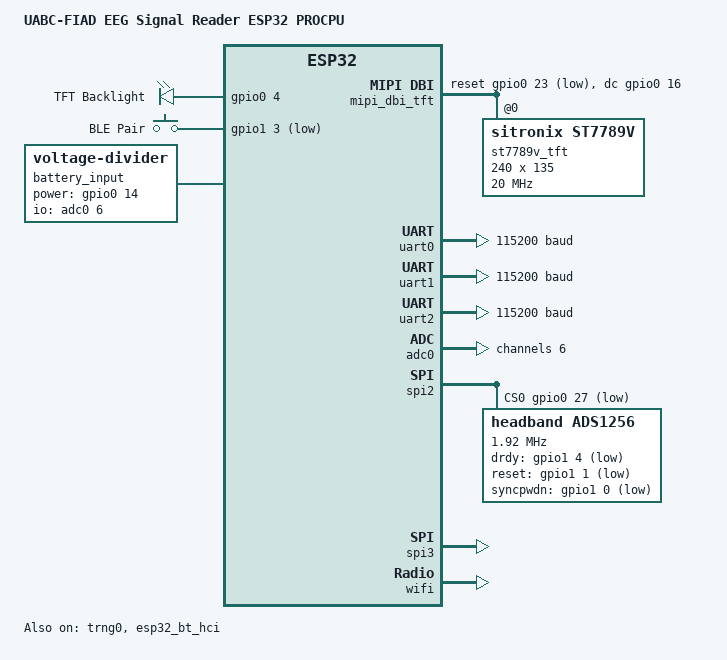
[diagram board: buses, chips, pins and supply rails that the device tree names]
/*
 * SPDX-License-Identifier: Apache-2.0
 */
/dts-v1/;

#include <espressif/esp32/esp32_wrover_e_n4r8.dtsi>
#include "eeg_signal_reader-pinctrl.dtsi"
#include <espressif/partitions_0x1000_amp.dtsi>
#include <zephyr/dt-bindings/adc/adc.h>
#include <zephyr/dt-bindings/display/panel.h>
#include <zephyr/dt-bindings/gpio/gpio.h>
#include <zephyr/dt-bindings/mipi_dbi/mipi_dbi.h>

/ {
	model = "UABC-FIAD EEG Signal Reader ESP32 PROCPU";
	compatible = "uabc-fiad,eeg-signal-reader";

	aliases {
		uart-0 = &uart0;
		watchdog0 = &wdt0;
		sw0 = &pair_button;
	};

	chosen {
		zephyr,sram = &sram1;
		zephyr,console = &uart0;
		zephyr,shell-uart = &uart0;
		zephyr,flash = &flash0;
		zephyr,code-partition = &slot0_partition;
		zephyr,bt-hci = &esp32_bt_hci;
		zephyr,display = &st7789v_tft;
	};

	leds {
		compatible = "gpio-leds";

		display_bl: display_bl {
			gpios = <&gpio0 4 GPIO_ACTIVE_HIGH>;
			label = "TFT Backlight";
		};
	};

	buttons {
		compatible = "gpio-keys";

		pair_button: pair_button {
			gpios = <&gpio1 3 GPIO_ACTIVE_LOW>;
			label = "BLE Pair";
		};
	};

	battery_input: battery_input {
		compatible = "voltage-divider";
		io-channels = <&adc0 6>;
		output-ohms = <100000>;
		full-ohms = <(100000 + 100000)>;
		power-gpios = <&gpio0 14 GPIO_ACTIVE_HIGH>;
		power-on-sample-delay-us = <15000>;
	};

	mipi_dbi_tft {
		compatible = "zephyr,mipi-dbi-spi";
		spi-dev = <&spi3>;
		dc-gpios = <&gpio0 16 GPIO_ACTIVE_HIGH>;
		reset-gpios = <&gpio0 23 GPIO_ACTIVE_LOW>;
		write-only;
		#address-cells = <1>;
		#size-cells = <0>;
		status = "okay";

		st7789v_tft: st7789v@0 {
			compatible = "sitronix,st7789v";
			reg = <0>;
			mipi-max-frequency = <20000000>;

			width = <240>;
			height = <135>;
			x-offset = <40>;
			y-offset = <53>;

			vcom = <0x19>;
			gctrl = <0x35>;
			vrhs = <0x12>;
			vdvs = <0x20>;
			mdac = <0x77>;
			gamma = <0x00>;
			pixel-format = <PANEL_PIXEL_FORMAT_RGB_565>;
			lcm = <0x2c>;
			porch-param = [0c 0c 00 33 33];
			cmd2en-param = [5a 69 02 00];
			pwctrl1-param = [a4 a1];
			pvgam-param = [d0 04 0d 11 13 2b 3f 54 4c 18 0d 0b 1f 23];
			nvgam-param = [d0 04 0c 11 13 2c 3f 44 51 2f 1f 1f 20 23];
			ram-param = [00 f0];
			rgb-param = [40 02 14];
			mipi-mode = "MIPI_DBI_MODE_SPI_4WIRE";
			status = "okay";
		};
	};
};

&uart0 {
	status = "okay";
	current-speed = <115200>;
	pinctrl-0 = <&uart0_default>;
	pinctrl-names = "default";
};

&uart1 {
	current-speed = <115200>;
};

&uart2 {
	current-speed = <115200>;
};

&gpio0 {
	status = "okay";
};

&gpio1 {
	status = "okay";
};

&adc0 {
	status = "okay";
	#address-cells = <1>;
	#size-cells = <0>;

	channel@6 {
		reg = <6>;
		zephyr,gain = "ADC_GAIN_1_4";
		zephyr,reference = "ADC_REF_INTERNAL";
		zephyr,vref-mv = <1100>;
		zephyr,acquisition-time = <ADC_ACQ_TIME_DEFAULT>;
		zephyr,resolution = <12>;
		zephyr,oversampling = <4>;
	};
};

&spi2 {
	#address-cells = <1>;
	#size-cells = <0>;
	pinctrl-0 = <&ads1256_spi_default>;
	pinctrl-names = "default";
	cs-gpios = <&gpio0 27 GPIO_ACTIVE_LOW>;
	status = "okay";

	ads1256: adc@0 {
		compatible = "headband,ads1256";
		reg = <0>;
		spi-max-frequency = <1920000>;
		drdy-gpios = <&gpio1 4 GPIO_ACTIVE_LOW>;
		reset-gpios = <&gpio1 1 GPIO_ACTIVE_LOW>;
		syncpwdn-gpios = <&gpio1 0 GPIO_ACTIVE_LOW>;
		single-ended-channel = <4>;
		data-rate = <10>;
		pga = <1>;
		status = "okay";
	};
};

&spi3 {
	#address-cells = <1>;
	#size-cells = <0>;
	pinctrl-0 = <&display_spi_default>;
	pinctrl-names = "default";
	cs-gpios = <&gpio0 5 GPIO_ACTIVE_LOW>;
	status = "okay";
};

&timer0 {
	status = "disabled";
};

&timer1 {
	status = "disabled";
};

&timer2 {
	status = "disabled";
};

&timer3 {
	status = "disabled";
};

&trng0 {
	status = "okay";
};

&esp32_bt_hci {
	status = "okay";
};

&wifi {
	status = "okay";
};
